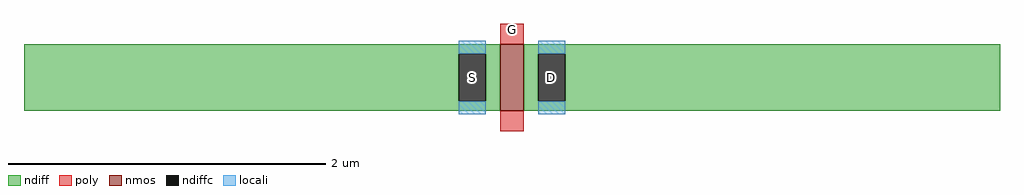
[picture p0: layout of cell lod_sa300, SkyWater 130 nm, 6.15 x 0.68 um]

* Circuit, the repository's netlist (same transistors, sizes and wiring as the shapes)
* NGSPICE file created from lod_sa300.ext - technology: sky130A

.subckt lod_sa300 S D G B
X0 D G S B sky130_fd_pr__nfet_01v8 ad=1.26 pd=6.84 as=1.26 ps=6.84 w=0.42 l=0.15
.ends

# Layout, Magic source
magic
tech sky130A
<< nmos >>
rect 300 0 315 42
<< ndiff >>
rect 0 36 300 42
rect 0 6 274 36
rect 291 6 300 36
rect 0 0 300 6
rect 315 36 615 42
rect 315 6 324 36
rect 341 6 615 36
rect 315 0 615 6
<< ndiffc >>
rect 274 6 291 36
rect 324 6 341 36
<< poly >>
rect 300 42 315 55
rect 300 -13 315 0
<< locali >>
rect 274 36 291 44
rect 274 -2 291 6
rect 324 36 341 44
rect 324 -2 341 6
<< labels >>
flabel locali 274 6 291 36 0 FreeSans 160 0 0 0 S
port 1 nsew
flabel locali 324 6 341 36 0 FreeSans 160 0 0 0 D
port 2 nsew
flabel poly 300 47 315 55 0 FreeSans 160 0 0 0 G
port 3 nsew
<< end >>
